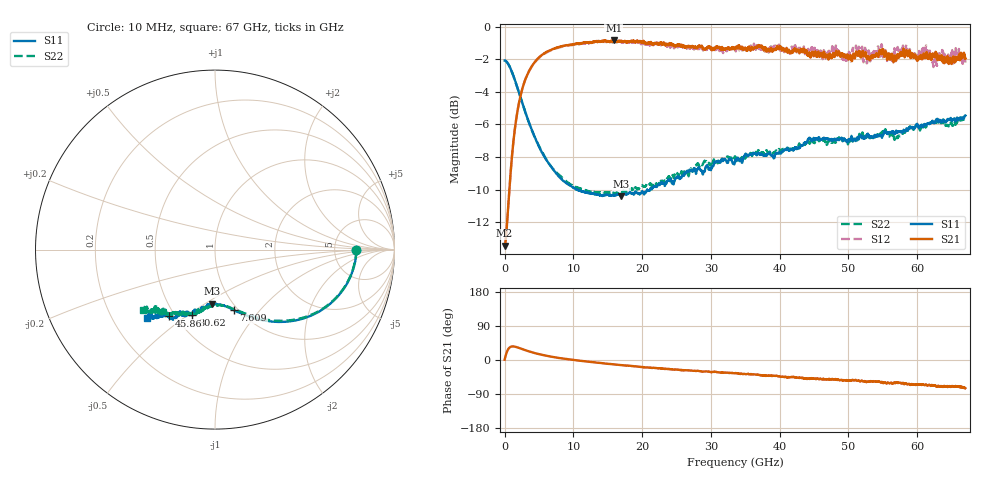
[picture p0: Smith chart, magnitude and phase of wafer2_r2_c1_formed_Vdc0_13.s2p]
!Keysight Technologies,N5227A,US51270248,A.10.65.08
!Date: Tuesday, June 11, 2024 06:56:20
!Correction: S11(Full 2 Port(1,4))
!S41(Full 2 Port(1,4))
!S14(Full 2 Port(1,4))
!S44(Full 2 Port(1,4))
!S2P File: Measurements: S11, S41, S14, S44:
# Hz S  dB  R 50
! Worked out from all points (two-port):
!   3201 points, 10 MHz to 67 GHz, reference 50 ohm
!   highest |S21| = -0.85 dB at 15.88 GHz (marker M1); lowest = -13.4 dB at 10 MHz (marker M2)
!   |S21| within 3 dB of the highest: 2.56 GHz to end of sweep
!   lowest |S11| = -10.4 dB at 16.99 GHz (marker M3), VSWR 1.87, Z = 40.4 - j26.8 ohm
!   |S11| at or under -10 dB: 10.56 GHz to 20.69 GHz (10.13 GHz wide, 64.8 % of centre); 20.75 GHz to 21.13 GHz (386.4 MHz wide, 1.84 % of centre)
!   |S22| runs from -10.2 to -2.1 dB; largest |S21 - S12| = 0.089
!   S11 on the Smith chart (normalised r, x): 10 MHz: 8.41, -0.15; 7.609 GHz: 0.96, -0.74; 30.62 GHz: 0.61, -0.52; 45.86 GHz: 0.46, -0.43; 67 GHz: 0.35, -0.37
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1e7  -2.07 -0.2  -13.44 0.8  -13.46 0.8  -2.08 -0.2
1.266062e9  -2.99 -25.2  -7.14 35.8  -7.13 35.7  -3.00 -24.9
2.543059e9  -4.64 -42.7  -3.87 29.0  -3.87 28.9  -4.64 -41.9
4.6993e9  -7.07 -60.0  -2.01 16.9  -2.05 16.7  -7.06 -58.5
7.609178e9  -9.04 -72.8  -1.28 6.3  -1.32 6.1  -8.96 -70.9
1.118896e10  -10.10 -82.2  -1.01 -2.3  -1.05 -2.6  -9.94 -80.7
1.587826e10  -10.35 -91.9  -0.85 -11.5  -0.92 -11.2  -10.22 -91.0
1.698778e10  -10.40 -93.1  -0.89 -13.7  -0.96 -13.4  -10.21 -92.0
2.234698e10  -9.71 -99.1  -1.06 -21.5  -1.06 -21.3  -9.71 -100.0
3.061606e10  -8.27 -109.1  -1.31 -31.1  -1.39 -31.3  -8.33 -112.1
3.3505e10  -8.24 -112.6  -1.34 -34.5  -1.43 -34.7  -7.96 -116.5
4.468396e10  -6.94 -122.6  -1.61 -48.8  -1.31 -48.1  -7.01 -125.7
4.585628e10  -6.94 -124.8  -1.71 -49.3  -1.53 -49.0  -6.98 -127.7
4.782411e10  -6.92 -125.9  -1.65 -51.7  -1.56 -52.0  -7.07 -129.0
4.935232e10  -6.87 -127.4  -1.74 -53.2  -1.96 -52.0  -6.94 -130.6
5.079679e10  -6.89 -127.5  -1.81 -53.7  -1.88 -53.2  -6.93 -130.3
5.584198e10  -6.49 -129.2  -1.70 -60.0  -1.82 -60.3  -6.69 -135.2
5.730738e10  -6.42 -129.9  -1.90 -60.4  -1.67 -60.9  -6.70 -133.6
6.153613e10  -5.95 -131.5  -1.97 -67.2  -1.70 -68.1  -6.06 -136.2
6.264565e10  -5.81 -131.6  -1.63 -67.1  -1.92 -68.2  -5.81 -137.8
6.375517e10  -5.73 -133.8  -1.87 -70.4  -1.65 -70.3  -5.86 -140.0
6.7e10  -5.44 -134.9  -1.95 -74.1  -2.21 -74.9  -5.64 -140.3
